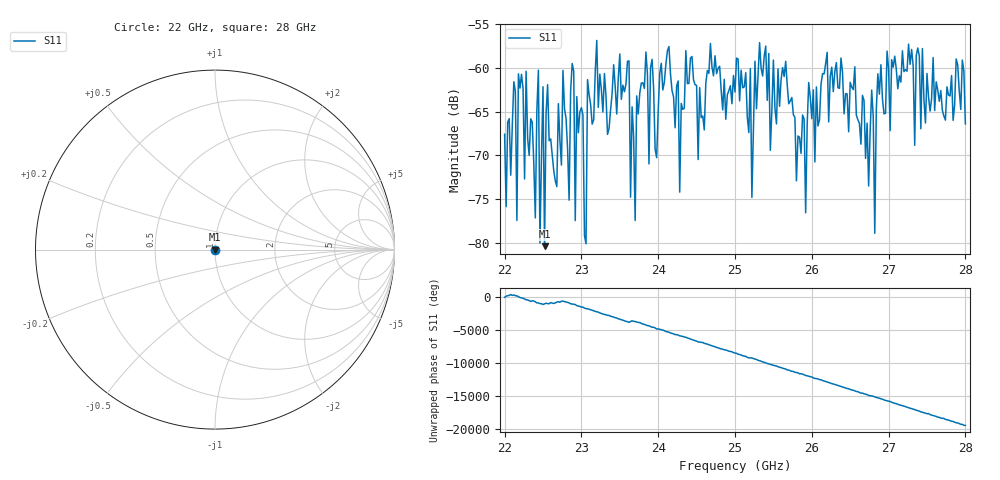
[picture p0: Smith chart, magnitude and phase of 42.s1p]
#  HZ  S  RI  R  50.00
! Rohde & Schwarz ZVA40 4Ports - Version 3.90 - 1145.1110k42 SN: 100403
! Date: 2023-10-04 11:29:36
! Measurement: S12
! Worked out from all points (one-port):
!   301 points, 22 GHz to 28 GHz, reference 50 ohm
!   lowest |S11| = -80.4 dB at 22.52 GHz (marker M1), VSWR 1.00, Z = 50 + j0.00916 ohm
!   |S11| at or under -10 dB: start of sweep to end of sweep
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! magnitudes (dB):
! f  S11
! 22 GHz  -67.6
! 22.14 GHz  -62.7
! 22.16 GHz  -77.5
! 22.18 GHz  -60.7
! 22.28 GHz  -60.4
! 22.4 GHz  -77.2
! 22.44 GHz  -60.3
! 22.46 GHz  -80.1
! 22.5 GHz  -62.2
! 22.52 GHz  -80.4
! 22.56 GHz  -61.9
! 22.76 GHz  -60.3
! 23.06 GHz  -80.1
! 23.08 GHz  -61.3
! 23.5 GHz  -58.4
! 23.7 GHz  -77.5
! 23.84 GHz  -58.2
! 24.26 GHz  -61.5
! 24.28 GHz  -74.2
! 24.36 GHz  -58.0
! 25 GHz  -62.8
! 25.76 GHz  -65.4
! 26.5 GHz  -61.7
! 26.78 GHz  -62.5
! 26.82 GHz  -78.9
! 26.86 GHz  -60.7
! 27.26 GHz  -57.3
! 28 GHz  -66.4
